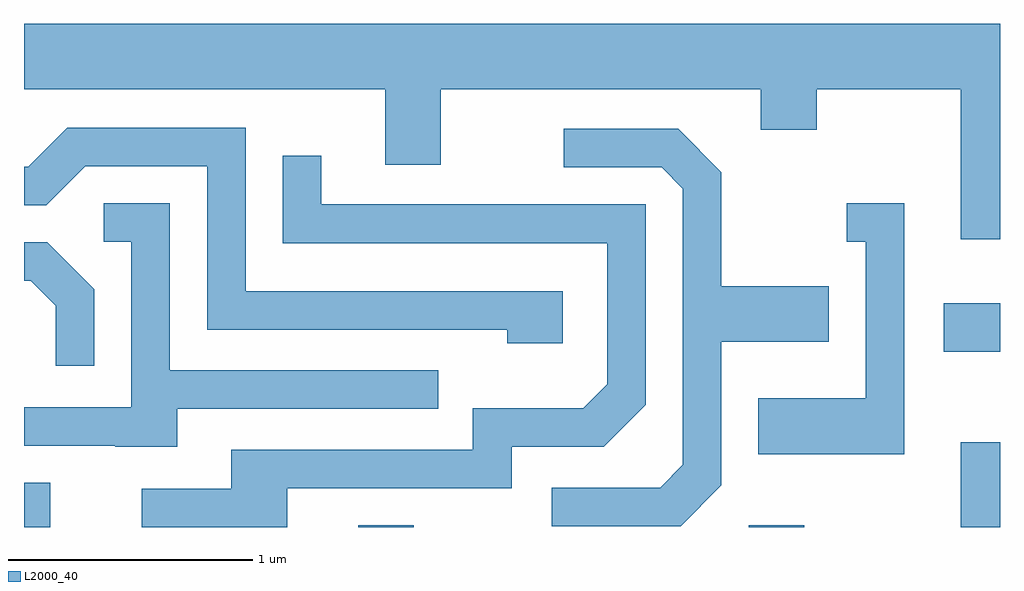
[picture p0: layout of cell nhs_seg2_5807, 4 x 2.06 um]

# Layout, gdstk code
import gdstk
lib = gdstk.Library(unit=1e-6, precision=1e-09)
def R(c, l, rs):  # rectangles x0, y0, x1, y1
    for r in rs: c.add(gdstk.rectangle(r[:2], r[2:], *l))
def P(c, l, *ps):  # polygons
    for p in ps: c.add(gdstk.Polygon(p, *l))
L2000_40 = (2000, 40)

nhs_seg2_5807 = lib.new_cell('nhs_seg2_5807')
R(nhs_seg2_5807, L2000_40, [(355.611,1099.802,355.719,1099.984), (356.981,1099.802,357.209,1099.809), (358.581,1099.802,358.809,1099.809), (359.451,1099.802,359.611,1100.149), (359.381,1100.521,359.611,1100.719)])
P(nhs_seg2_5807, L2000_40, [(359.611,1101.864),(355.611,1101.864),(355.611,1101.596),(357.091,1101.596),(357.091,1101.286),(357.319,1101.286),(357.319,1101.596),(358.631,1101.596),(358.631,1101.431),(358.859,1101.431),(358.859,1101.596),(359.451,1101.596),(359.451,1100.981),(359.611,1100.981)],
  [(357.819,1100.769),(356.519,1100.769),(356.519,1101.439),(355.789,1101.439),(355.629,1101.279),(355.611,1101.279),(355.611,1101.121),(355.702,1101.121),(355.862,1101.281),(356.361,1101.281),(356.361,1100.611),(357.591,1100.611),(357.591,1100.556),(357.819,1100.556)],
  [(358.469,1099.974),(358.469,1100.561),(358.909,1100.561),(358.909,1100.789),(358.469,1100.789),(358.469,1101.257),(358.292,1101.434),(357.823,1101.434),(357.823,1101.276),(358.224,1101.276),(358.311,1101.189),(358.311,1100.057),(358.219,1099.964),(357.773,1099.964),(357.773,1099.806),(358.302,1099.806)],
  [(356.689,1099.961),(357.609,1099.961),(357.609,1100.131),(357.987,1100.131),(358.159,1100.304),(358.159,1101.124),(356.829,1101.124),(356.829,1101.323),(356.671,1101.323),(356.671,1100.966),(358.001,1100.966),(358.001,1100.387),(357.904,1100.289),(357.451,1100.289),(357.451,1100.119),(356.461,1100.119),(356.461,1099.959),(356.093,1099.959),(356.093,1099.802),(356.689,1099.802)],
  [(356.239,1100.286),(357.308,1100.286),(357.308,1100.444),(356.209,1100.444),(356.209,1101.129),(355.938,1101.129),(355.938,1100.971),(356.051,1100.971),(356.051,1100.294),(355.611,1100.294),(355.611,1100.136),(355.985,1100.136),(355.985,1100.131),(356.239,1100.131)],
  [(359.219,1101.129),(358.983,1101.129),(358.983,1100.971),(359.061,1100.971),(359.061,1100.329),(358.621,1100.329),(358.621,1100.101),(359.219,1100.101)],
  [(355.899,1100.777),(355.707,1100.969),(355.611,1100.969),(355.611,1100.811),(355.639,1100.811),(355.741,1100.709),(355.741,1100.463),(355.899,1100.463)])

lib.write_gds('nhs_seg2_5807.gds')
